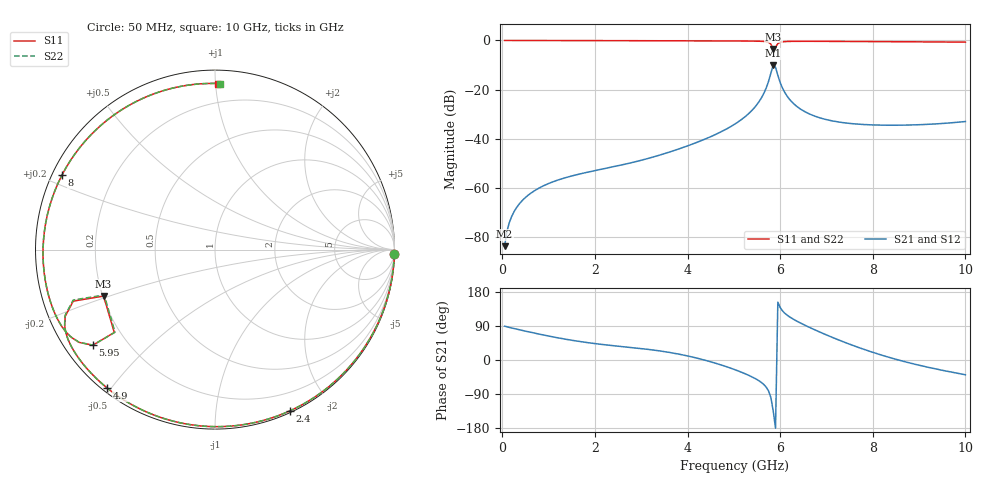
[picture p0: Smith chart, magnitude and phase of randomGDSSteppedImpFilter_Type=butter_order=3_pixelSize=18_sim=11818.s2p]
! freq	dB(S11)	phase(S11)	dB(S12)	phase(S12)
!  dB(S21)	phase(S21)	dB(S22)	phase(S22)
!S-par simulation data
#  GHz  S  DB  R 50
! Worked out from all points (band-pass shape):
!   200 points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, 50 MHz to 10 GHz, reference 50 ohm
!   highest |S21| = -10.15 dB at 5.85 GHz (marker M1); lowest = -83.9 dB at 50 MHz (marker M2)
!   |S21| within 3 dB of the highest: 5.802 GHz to 5.934 GHz (131.8 MHz wide, 2.25 % of centre)
!   lowest |S11| = -3.4 dB at 5.85 GHz (marker M3), VSWR 5.10, Z = 10.2 - j9.61 ohm
!   |S11| at or under -10 dB: nowhere
!   |S22| runs from -3.5 to 0.0 dB; largest |S21 - S12| = 0
!   S11 on the Smith chart (normalised r, x): 50 MHz: 0, -82; 2.4 GHz: 0.02, -1.57; 4.9 GHz: 0.01, -0.49; 5.95 GHz: 0.08, -0.34; 8 GHz: 0.03, +0.23; 10 GHz: 0.08, +1.02
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0.05  -0.00 -1.4  -83.86 89.3  -83.86 89.3  -0.01 -1.4
0.25  -0.01 -7.0  -69.93 83.1  -69.93 83.1  -0.01 -7.0
0.55  -0.02 -15.3  -63.20 74.8  -63.20 74.8  -0.02 -15.3
1.05  -0.04 -29.0  -57.94 62.0  -57.94 62.0  -0.04 -29.1
1.75  -0.06 -48.0  -54.08 47.4  -54.08 47.4  -0.06 -48.0
2.4  -0.08 -65.1  -51.49 37.7  -51.49 37.7  -0.08 -65.1
3.4  -0.12 -90.6  -46.73 24.0  -46.73 24.0  -0.12 -90.7
4.9  -0.20 -127.9  -35.47 -20.2  -35.47 -20.2  -0.20 -128.1
5.05  -0.21 -131.8  -33.75 -26.8  -33.75 -26.8  -0.21 -131.9
5.55  -0.31 -146.1  -24.78 -55.4  -24.78 -55.4  -0.31 -146.3
5.75  -0.78 -156.0  -16.64 -81.8  -16.64 -81.8  -0.79 -156.3
5.8  -1.51 -160.0  -13.29 -99.2  -13.29 -99.2  -1.53 -160.4
5.85  -3.45 -157.4  -10.15 -134.0  -10.15 -134.0  -3.52 -157.7
5.9  -2.77 -140.5  -10.90 -180.0  -10.90 -180.0  -2.82 -140.4
5.95  -1.26 -142.0  -14.20 152.6  -14.20 152.6  -1.28 -141.9
6.05  -0.55 -148.7  -19.41 129.8  -19.41 129.8  -0.55 -148.7
6.2  -0.38 -154.9  -23.95 114.1  -23.95 114.1  -0.38 -155.0
6.7  -0.34 -169.6  -30.50 82.2  -30.50 82.2  -0.35 -169.8
8  -0.46 154.1  -34.43 20.2  -34.43 20.2  -0.46 153.9
8.35  -0.50 143.7  -34.56 7.0  -34.56 7.0  -0.50 143.4
9.25  -0.60 114.9  -34.14 -20.7  -34.14 -20.7  -0.60 114.6
10  -0.67 88.8  -33.04 -39.0  -33.04 -39.0  -0.67 88.4
